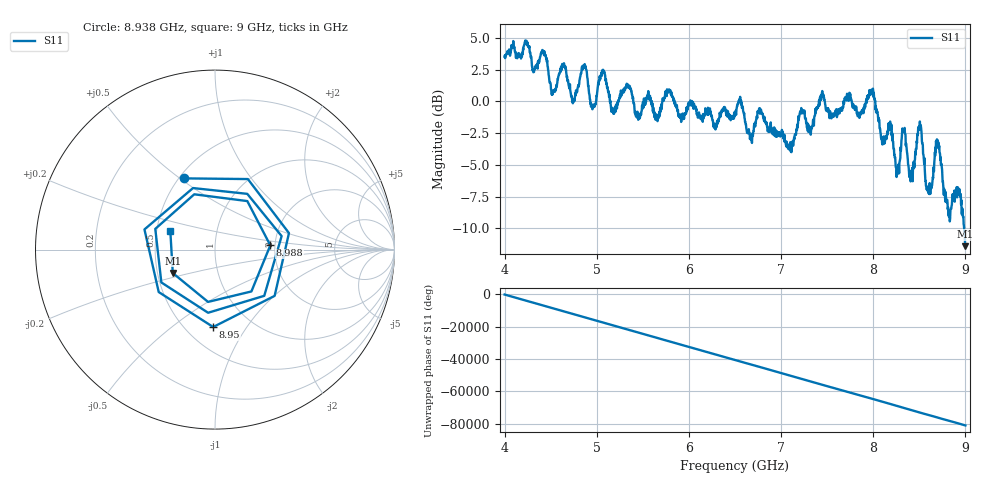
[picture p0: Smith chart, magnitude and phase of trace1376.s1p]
! Created with skrf 1.8.0 (http://scikit-rf.org).
# Hz S RI R 50.0
!freq ReS11 ImS11
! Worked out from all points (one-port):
!   1601 points, 4 GHz to 9 GHz, reference 50 ohm
!   lowest |S11| = -11.4 dB at 8.997 GHz (marker M1), VSWR 1.74, Z = 30.1 - j8.47 ohm
!   |S11| at or under -10 dB: 8.986153 GHz to end of sweep
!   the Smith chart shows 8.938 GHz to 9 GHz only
!   S11 on the Smith chart (normalised r, x): 8.938 GHz: 0.53, +0.52; 8.95 GHz: 0.67, -0.72; 8.988 GHz: 1.89, +0.10; 9 GHz: 0.59, +0.13
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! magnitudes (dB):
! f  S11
! 4 GHz  3.5
! 4.422 GHz  3.9
! 4.528 GHz  0.9
! 4.625 GHz  3.0
! 4.741 GHz  -0.1
! 4.862 GHz  2.8
! 4.956 GHz  -0.3
! 5.066 GHz  2.4
! 5.25 GHz  0.5
! 5.875 GHz  -0.8
! 6.5 GHz  -1.0
! 7.125 GHz  -3.3
! 7.444 GHz  0.7
! 7.75 GHz  0.6
! 7.984 GHz  0.8
! 8.256 GHz  -5.7
! 8.331 GHz  -2.3
! 8.375 GHz  -4.6
! 8.422 GHz  -5.6
! 8.503 GHz  -2.0
! 8.594 GHz  -6.7
! 8.7 GHz  -3.2
! 8.812 GHz  -8.3
! 8.938 GHz  -7.3
! 8.95 GHz  -7.3
! 8.988 GHz  -10.2
! 8.997 GHz  -11.4
! 9 GHz  -11.4
